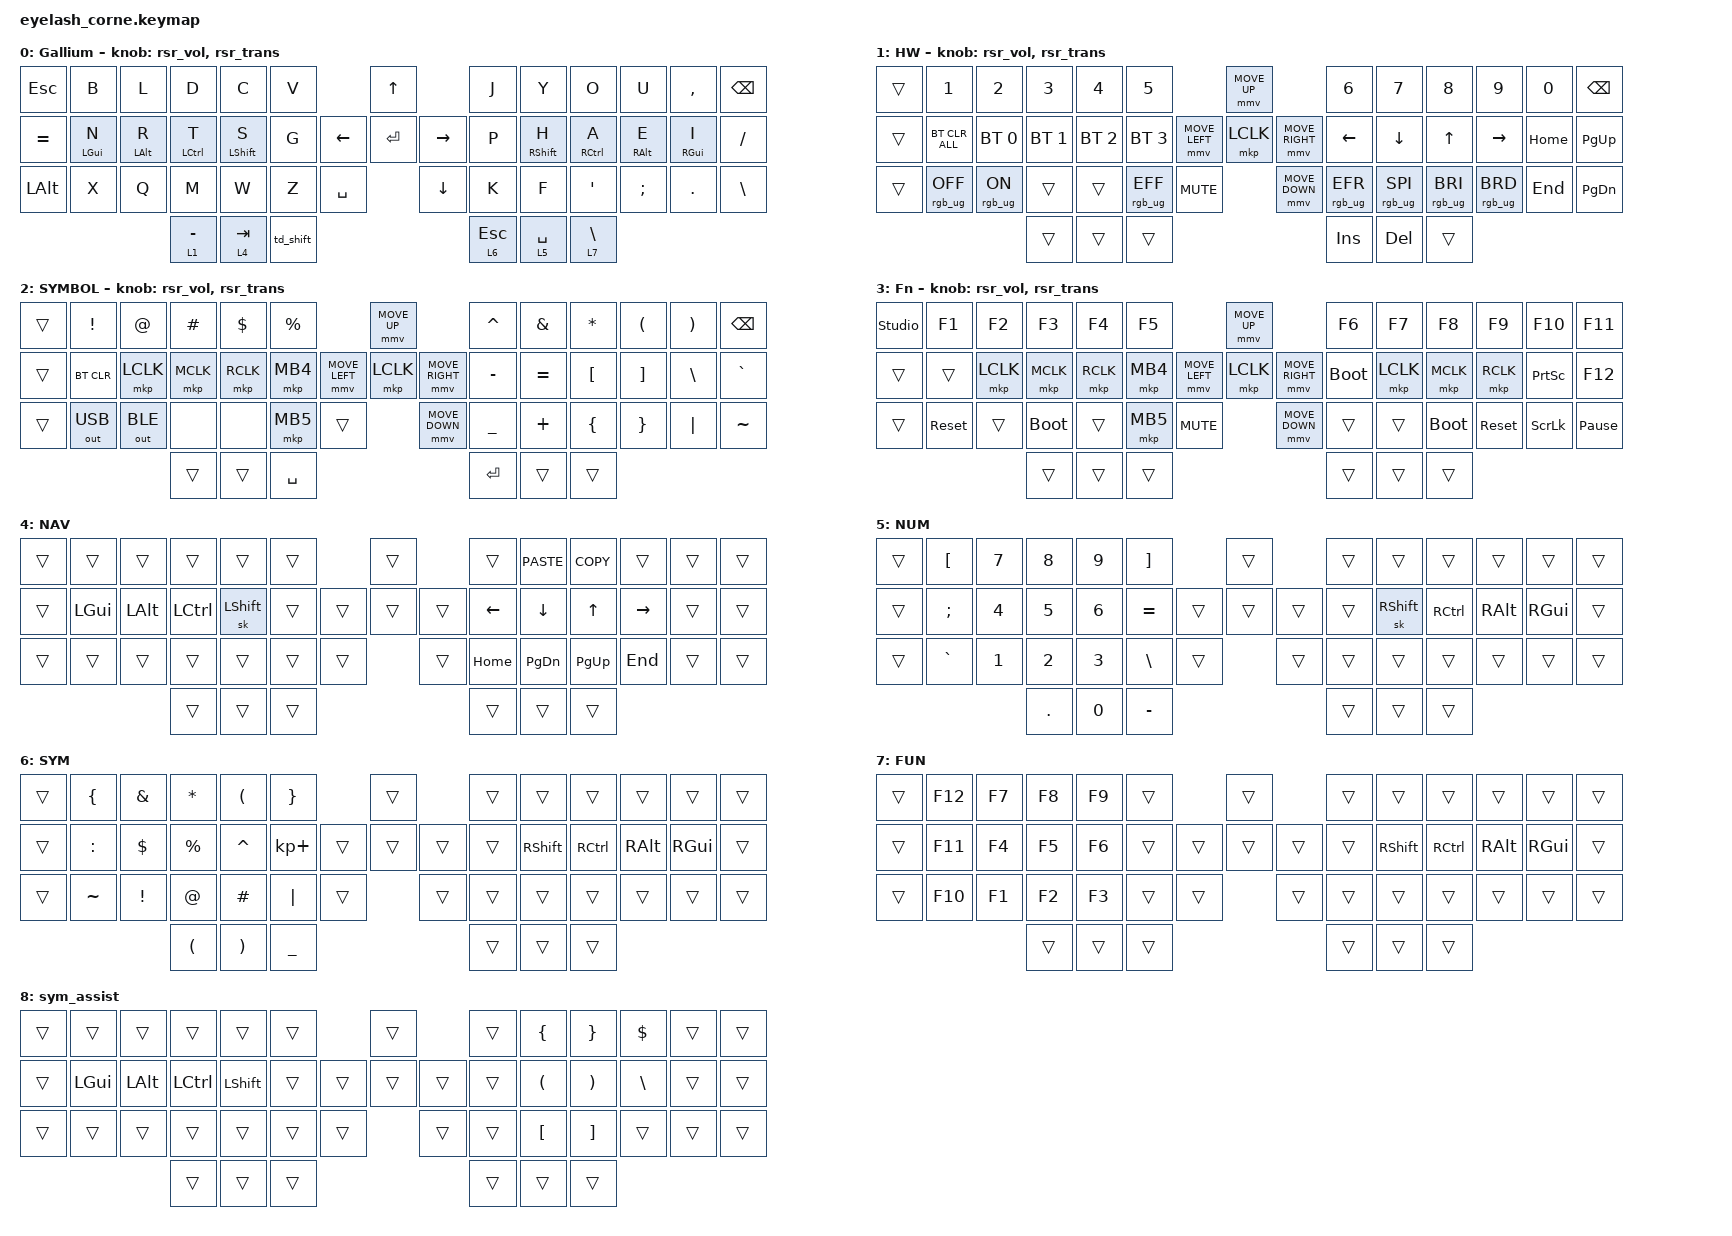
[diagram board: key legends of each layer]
#define ZMK_POINTING_DEFAULT_MOVE_VAL 1200  // 600
#define ZMK_POINTING_DEFAULT_SCRL_VAL 25   // 10

#include <input/processors.dtsi>
#include <zephyr/dt-bindings/input/input-event-codes.h>
#include <behaviors/runtime-sensor-rotate.dtsi>
#include <behaviors.dtsi>
#include <dt-bindings/zmk/bt.h>
#include <dt-bindings/zmk/keys.h>
#include <dt-bindings/zmk/outputs.h>
#include <dt-bindings/zmk/pointing.h>
#include <dt-bindings/zmk/rgb.h>

&soft_off { hold-time-ms = <2000>; };

&lt {
    tapping-term-ms = <100>;
    retro-tap;
};

&mt {
    retro-tap;
    flavor = "balanced";
    tapping-term-ms = <5000>;
    require-prior-idle-ms = <150>;
    hold-trigger-key-positions = <>;
};

&sk { quick-release; };

/ {
    behaviors {
        td_shift: td0 {
            compatible = "zmk,behavior-tap-dance";
            display-name = "Shift/Caps Lock Tap Dance";
            #binding-cells = <0>;
            bindings = <&sk LEFT_SHIFT>, <&caps_word>;
        };

        mtl: mtl {
            compatible = "zmk,behavior-hold-tap";
            label = "MTL";
            bindings = <&kp>, <&kp>;

            #binding-cells = <2>;
            tapping-term-ms = <280>;
            require-prior-idle-ms = <150>;
            flavor = "balanced";
            hold-trigger-key-positions = <7 7 8 9 10 11 12 22 23 24 25 26 27 36 37 38 39 40 41>;
            hold-trigger-on-release;
        };

        mtr: mtr {
            compatible = "zmk,behavior-hold-tap";
            label = "MTR";
            bindings = <&kp>, <&kp>;

            #binding-cells = <2>;
            tapping-term-ms = <280>;
            require-prior-idle-ms = <150>;
            flavor = "balanced";
            hold-trigger-on-release;
            hold-trigger-key-positions = <0 1 2 3 4 5 13 14 15 16 17 18 28 29 30 31 32 33>;
        };

        rsr_vol: rsr_vol {
            compatible = "zmk,behavior-runtime-sensor-rotate";
            #sensor-binding-cells = <0>;
            tap-ms = <5>;
            cw-binding = <&kp C_VOL_UP>;
            ccw-binding = <&kp C_VOL_DN>;
        };

        rsr_trans: rsr_trans {
            compatible = "zmk,behavior-runtime-sensor-rotate";
            #sensor-binding-cells = <0>;
            tap-ms = <0>;
        };

        left_paren_ang: left_paren_ang {
            compatible = "zmk,behavior-mod-morph";
            label = "LEFT_PAREN_ANG";
            bindings = <&kp LEFT_PARENTHESIS>, <&kp LESS_THAN>;

            #binding-cells = <0>;
            mods = <(MOD_LSFT|MOD_RSFT)>;
        };

        right_paren_ang: right_paren_ang {
            compatible = "zmk,behavior-mod-morph";
            label = "RIGHT_PAREN_ANG";
            bindings = <&kp RIGHT_PARENTHESIS>, <&kp GREATER_THAN>;

            #binding-cells = <0>;
            mods = <(MOD_LSFT|MOD_RSFT)>;
        };
    };

    combos {
        compatible = "zmk,combos";

        softoff {
            bindings = <&soft_off>;
            key-positions = <1 15 29>;
        };

        homerow-backslash {
            bindings = <&kp BACKSLASH>;
            key-positions = <15 16>;
            timeout-ms = <30>;
            require-prior-idle-ms = <175>;
        };

        hr-enter {
            bindings = <&kp ENTER>;
            key-positions = <2 3>;
            timeout-ms = <30>;
            require-prior-idle-ms = <175>;
        };

        left_paren {
            bindings = <&left_paren_ang>;
            key-positions = <23 24>;
            require-prior-idle-ms = <175>;
            timeout-ms = <30>;
        };

        right_paren {
            bindings = <&right_paren_ang>;
            key-positions = <24 25>;
            timeout-ms = <30>;
            require-prior-idle-ms = <175>;
        };

        left_bracket {
            bindings = <&kp LEFT_BRACKET>;
            key-positions = <37 38>;
            timeout-ms = <30>;
            require-prior-idle-ms = <175>;
        };

        right_bracket {
            bindings = <&kp RIGHT_BRACKET>;
            key-positions = <38 39>;
            timeout-ms = <30>;
            require-prior-idle-ms = <175>;
        };

        homerow_slash {
            bindings = <&kp SLASH>;
            key-positions = <16 17>;
            timeout-ms = <30>;
            require-prior-idle-ms = <175>;
        };

        homerow_minus {
            bindings = <&kp MINUS>;
            key-positions = <30 31>;
            timeout-ms = <30>;
            require-prior-idle-ms = <175>;
        };

        homerow_eq {
            bindings = <&kp EQUAL>;
            key-positions = <32 31>;
            timeout-ms = <30>;
            require-prior-idle-ms = <175>;
        };
    };

    keymap {
        compatible = "zmk,keymap";

        default_layer {
            display-name = "Gallium";
            bindings = <
&kp ESCAPE    &kp B            &kp L            &kp D                &kp C              &kp V                             &kp UP                &kp J         &kp Y               &kp O                 &kp U             &kp COMMA         &kp BSPC
&kp EQUAL     &mtl LEFT_GUI N  &mtl LEFT_ALT R  &mtl LEFT_CONTROL T  &mtl LEFT_SHIFT S  &kp G                   &kp LEFT  &kp ENTER  &kp RIGHT  &kp P         &mtr RIGHT_SHIFT H  &mtr RIGHT_CONTROL A  &mtr RIGHT_ALT E  &mtr RIGHT_GUI I  &kp SLASH
&kp LEFT_ALT  &kp X            &kp Q            &kp M                &kp W              &kp Z      &kp SPACE              &kp DOWN              &kp K         &kp F               &kp SQT               &kp SEMICOLON     &kp PERIOD        &kp BACKSLASH
                                                &lt 1 MINUS          &lt 4 TAB          &td_shift                                               &lt 6 ESCAPE  &lt 5 SPACE         &lt 7 BACKSLASH
            >;

            sensor-bindings = <&rsr_vol &rsr_trans>;
        };

        hardware {
            display-name = "HW";
            bindings = <
&trans  &kp N1           &kp N2          &kp N3        &kp N4        &kp N5                                         &mmv MOVE_UP                     &kp N6           &kp N7           &kp N8           &kp N9           &kp N0    &kp BSPC
&trans  &bt BT_CLR_ALL   &bt BT_SEL 0    &bt BT_SEL 1  &bt BT_SEL 2  &bt BT_SEL 3                   &mmv MOVE_LEFT  &mkp LCLK       &mmv MOVE_RIGHT  &kp LEFT         &kp DOWN         &kp UP           &kp RIGHT        &kp HOME  &kp PG_UP
&trans  &rgb_ug RGB_OFF  &rgb_ug RGB_ON  &trans        &trans        &rgb_ug RGB_EFF  &kp C_MUTE                    &mmv MOVE_DOWN                   &rgb_ug RGB_EFR  &rgb_ug RGB_SPI  &rgb_ug RGB_BRI  &rgb_ug RGB_BRD  &kp END   &kp PG_DN
                                         &trans        &trans        &trans                                                                          &kp INS          &kp DEL          &trans
            >;

            sensor-bindings = <&rsr_vol &rsr_trans>;
        };

        raise_layer {
            display-name = "SYMBOL";
            bindings = <
&trans  &kp EXCL      &kp AT        &kp HASH   &kp DLLR   &kp PRCNT                            &mmv MOVE_UP                     &kp CARET  &kp AMPS   &kp ASTRK  &kp LPAR  &kp RPAR  &kp BSPC
&trans  &bt BT_CLR    &mkp LCLK     &mkp MCLK  &mkp RCLK  &mkp MB4             &mmv MOVE_LEFT  &mkp LCLK       &mmv MOVE_RIGHT  &kp MINUS  &kp EQUAL  &kp LBKT   &kp RBKT  &kp BSLH  &kp GRAVE
&trans  &out OUT_USB  &out OUT_BLE  &none      &none      &mkp MB5   &trans                    &mmv MOVE_DOWN                   &kp UNDER  &kp PLUS   &kp LBRC   &kp RBRC  &kp PIPE  &kp TILDE
                                    &trans     &trans     &kp SPACE                                                             &kp RET    &trans     &trans
            >;

            sensor-bindings = <&rsr_vol &rsr_trans>;
        };

        layer_3 {
            display-name = "Fn";
            bindings = <
&studio_unlock  &kp F1      &kp F2     &kp F3       &kp F4     &kp F5                                  &mmv MOVE_UP                     &kp F6       &kp F7     &kp F8       &kp F9      &kp F10          &kp F11
&trans          &trans      &mkp LCLK  &mkp MCLK    &mkp RCLK  &mkp MB4                &mmv MOVE_LEFT  &mkp LCLK       &mmv MOVE_RIGHT  &bootloader  &mkp LCLK  &mkp MCLK    &mkp RCLK   &kp PRINTSCREEN  &kp F12
&trans          &sys_reset  &trans     &bootloader  &trans     &mkp MB5  &kp C_MUTE                    &mmv MOVE_DOWN                   &trans       &trans     &bootloader  &sys_reset  &kp SCROLLLOCK   &kp PAUSE_BREAK
                                       &trans       &trans     &trans                                                                   &trans       &trans     &trans
            >;

            sensor-bindings = <&rsr_vol &rsr_trans>;
        };

        nav {
            bindings = <
&trans  &trans    &trans        &trans            &trans          &trans                    &trans          &trans    &kp K_PASTE    &kp K_COPY   &trans     &trans  &trans
&trans  &kp LGUI  &kp LEFT_ALT  &kp LEFT_CONTROL  &sk LEFT_SHIFT  &trans            &trans  &trans  &trans  &kp LEFT  &kp DOWN       &kp UP       &kp RIGHT  &trans  &trans
&trans  &trans    &trans        &trans            &trans          &trans  &trans            &trans          &kp HOME  &kp PAGE_DOWN  &kp PAGE_UP  &kp END    &trans  &trans
                                &trans            &trans          &trans                                    &trans    &trans         &trans
            >;

            label = "NAV";
        };

        num {
            bindings = <
&trans  &kp LEFT_BRACKET  &kp NUMBER_7  &kp NUMBER_8  &kp NUMBER_9  &kp RIGHT_BRACKET                    &trans          &trans  &trans           &trans     &trans         &trans         &trans
&trans  &kp SEMICOLON     &kp NUMBER_4  &kp NUMBER_5  &kp NUMBER_6  &kp EQUAL                    &trans  &trans  &trans  &trans  &sk RIGHT_SHIFT  &kp RCTRL  &kp RIGHT_ALT  &kp RIGHT_GUI  &trans
&trans  &kp GRAVE         &kp NUMBER_1  &kp NUMBER_2  &kp NUMBER_3  &kp BACKSLASH      &trans            &trans          &trans  &trans           &trans     &trans         &trans         &trans
                                        &kp PERIOD    &kp N0        &kp MINUS                                            &trans  &trans           &trans
            >;

            label = "NUM";
        };

        sym {
            bindings = <
&trans  &kp LEFT_BRACE  &kp AMPERSAND    &kp ASTERISK          &kp LEFT_PARENTHESIS   &kp RIGHT_BRACE                    &trans          &trans  &trans           &trans     &trans         &trans         &trans
&trans  &kp COLON       &kp DOLLAR       &kp PERCENT           &kp CARET              &kp KP_PLUS                &trans  &trans  &trans  &trans  &kp RIGHT_SHIFT  &kp RCTRL  &kp RIGHT_ALT  &kp RIGHT_GUI  &trans
&trans  &kp TILDE       &kp EXCLAMATION  &kp AT_SIGN           &kp HASH               &kp PIPE         &trans            &trans          &trans  &trans           &trans     &trans         &trans         &trans
                                         &kp LEFT_PARENTHESIS  &kp RIGHT_PARENTHESIS  &kp UNDERSCORE                                     &trans  &trans           &trans
            >;

            label = "SYM";
        };

        fun {
            bindings = <
&trans  &kp F12  &kp F7  &kp F8  &kp F9  &trans                    &trans          &trans  &trans           &trans     &trans         &trans         &trans
&trans  &kp F11  &kp F4  &kp F5  &kp F6  &trans            &trans  &trans  &trans  &trans  &kp RIGHT_SHIFT  &kp RCTRL  &kp RIGHT_ALT  &kp RIGHT_GUI  &trans
&trans  &kp F10  &kp F1  &kp F2  &kp F3  &trans  &trans            &trans          &trans  &trans           &trans     &trans         &trans         &trans
                         &trans  &trans  &trans                                    &trans  &trans           &trans
            >;

            label = "FUN";
        };

        sym_assist {
            bindings = <
&trans  &trans    &trans        &trans     &trans     &trans                    &trans          &trans  &kp LEFT_BRACE        &kp RIGHT_BRACE        &kp DOLLAR     &trans  &trans
&trans  &kp LGUI  &kp LEFT_ALT  &kp LCTRL  &kp LSHFT  &trans            &trans  &trans  &trans  &trans  &kp LEFT_PARENTHESIS  &kp RIGHT_PARENTHESIS  &kp BACKSLASH  &trans  &trans
&trans  &trans    &trans        &trans     &trans     &trans  &trans            &trans          &trans  &kp LEFT_BRACKET      &kp RIGHT_BRACKET      &trans         &trans  &trans
                                &trans     &trans     &trans                                    &trans  &trans                &trans
            >;
        };
    };
};
